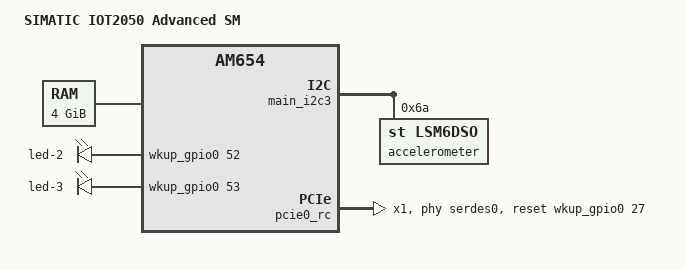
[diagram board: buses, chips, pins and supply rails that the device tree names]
// SPDX-License-Identifier: GPL-2.0-only
/*
 * Copyright (c) Siemens AG, 2023
 *
 * Authors:
 *   Baocheng Su <baocheng.su@siemens.com>
 *   Chao Zeng <chao.zeng@siemens.com>
 *   Huaqian Li <huaqian.li@siemens.com>
 *
 * AM6548-based (quad-core) IOT2050 SM variant, Product Generation 2
 * 4 GB RAM, 16 GB eMMC, USB-serial converter on connector X30
 *
 * Product homepage:
 * https://new.siemens.com/global/en/products/automation/pc-based/iot-gateways/simatic-iot2050.html
 */

/dts-v1/;

#include "k3-am6548-iot2050-advanced-common.dtsi"
#include "k3-am65-iot2050-common-pg2.dtsi"

/ {
	compatible = "siemens,iot2050-advanced-sm", "ti,am654";
	model = "SIMATIC IOT2050 Advanced SM";

	memory@80000000 {
		device_type = "memory";
		/* 4G RAM */
		reg = <0x00000000 0x80000000 0x00000000 0x80000000>,
		      <0x00000008 0x80000000 0x00000000 0x80000000>;
	};

	aliases {
		spi1 = &main_spi0;
	};

	leds {
		pinctrl-0 = <&leds_pins_default>, <&user1_led_pins>;

		led-2 {
			gpios = <&wkup_gpio0 52 GPIO_ACTIVE_HIGH>;
		};

		led-3 {
			gpios = <&wkup_gpio0 53 GPIO_ACTIVE_HIGH>;
		};
	};
};

&main_pmx0 {
	main_pcie_enable_pins_default: main-pcie-enable-default-pins {
		pinctrl-single,pins = <
			AM65X_IOPAD(0x01d8, PIN_OUTPUT, 7)  /* (AH12) GPIO1_22 */
		>;
	};

	main_spi0_pins: main-spi0-default-pins  {
		pinctrl-single,pins = <
			AM65X_IOPAD(0x01c4, PIN_INPUT, 0) /* (AH13) SPI0_CLK */
			AM65X_IOPAD(0x01c8, PIN_INPUT, 0) /* (AE13) SPI0_D0 */
			AM65X_IOPAD(0x01cc, PIN_INPUT, 0) /* (AD13) SPI0_D1 */
			AM65X_IOPAD(0x01bc, PIN_OUTPUT, 0) /* (AG13) SPI0_CS0 */
		>;
	};
};

&main_pmx1 {
	asic_spi_mux_ctrl_pin: asic-spi-mux-ctrl-default-pins {
		pinctrl-single,pins = <
			AM65X_IOPAD(0x0010, PIN_OUTPUT, 7)  /* (D21) GPIO1_86 */
		>;
	};
};

&wkup_pmx0 {
	user1_led_pins: user1-led-default-pins {
		pinctrl-single,pins = <
			/* (AB1) WKUP_UART0_RXD:WKUP_GPIO0_52, as USER 1 led red */
			AM65X_WKUP_IOPAD(0x00a0, PIN_OUTPUT, 7)
			/* (AB5) WKUP_UART0_TXD:WKUP_GPIO0_53, as USER 1 led green */
			AM65X_WKUP_IOPAD(0x00a4, PIN_OUTPUT, 7)
		>;
	};

	soc_asic_pins: soc-asic-default-pins {
		pinctrl-single,pins = <
			AM65X_WKUP_IOPAD(0x0044, PIN_INPUT, 7)  /* (P4) WKUP_GPIO0_29 */
			AM65X_WKUP_IOPAD(0x0048, PIN_INPUT, 7)  /* (P5) WKUP_GPIO0_30 */
			AM65X_WKUP_IOPAD(0x004c, PIN_INPUT, 7)  /* (P1) WKUP_GPIO0_31 */
		>;
	};
};

&main_gpio0 {
	gpio-line-names = "main_gpio0-base";
};

&main_gpio1 {
	pinctrl-names = "default";
	pinctrl-0 =
		<&cp2102n_reset_pin_default>,
		<&main_pcie_enable_pins_default>,
		<&asic_spi_mux_ctrl_pin>;
	gpio-line-names =
		/* 0..9 */
		"", "", "", "", "", "", "", "", "", "",
		/* 10..19 */
		"", "", "", "", "", "", "", "", "", "",
		/* 20..29 */
		"", "", "", "", "CP2102N-RESET", "", "", "", "", "",
		/* 30..39 */
		"", "", "", "", "", "", "", "", "", "",
		/* 40..49 */
		"", "", "", "", "", "", "", "", "", "",
		/* 50..59 */
		"", "", "", "", "", "", "", "", "", "",
		/* 60..69 */
		"", "", "", "", "", "", "", "", "", "",
		/* 70..79 */
		"", "", "", "", "", "", "", "", "", "",
		/* 80..86 */
		"", "", "", "", "", "", "ASIC-spi-mux-ctrl";
};

&wkup_gpio0 {
	pinctrl-names = "default";
	pinctrl-0 =
		<&push_button_pins_default>,
		<&db9_com_mode_pins_default>,
		<&soc_asic_pins>;
	gpio-line-names =
		/* 0..9 */
		"wkup_gpio0-base", "", "", "", "UART0-mode1", "UART0-mode0",
		"UART0-enable", "UART0-terminate", "", "WIFI-disable",
		/* 10..19 */
		"", "", "", "", "", "", "", "", "", "",
		/* 20..29 */
		"", "", "", "", "", "USER-button", "", "", "","ASIC-gpio-0",
		/* 30..31 */
		"ASIC-gpio-1", "ASIC-gpio-2";
};

&main_spi0 {
	pinctrl-names = "default";
	pinctrl-0 = <&main_spi0_pins>;

	#address-cells = <1>;
	#size-cells = <0>;
};

&mcu_spi0 {
	pinctrl-names = "default";
	pinctrl-0 = <&mcu_spi0_pins_default>;
};

&main_i2c3 {
	accelerometer: lsm6dso@6a {
		compatible = "st,lsm6dso";
		reg = <0x6a>;
	};
};

&dss {
	status = "disabled";
};

&serdes0 {
	assigned-clocks = <&k3_clks 153 4>, <&serdes0 AM654_SERDES_CMU_REFCLK>;
	assigned-clock-parents = <&k3_clks 153 8>, <&k3_clks 153 4>;
};

&serdes1 {
	status = "disabled";
};

&pcie0_rc {
	pinctrl-names = "default";
	pinctrl-0 = <&minipcie_pins_default>;

	num-lanes = <1>;
	phys = <&serdes0 PHY_TYPE_PCIE 1>;
	phy-names = "pcie-phy0";
	reset-gpios = <&wkup_gpio0 27 GPIO_ACTIVE_HIGH>;
	status = "okay";
};

&pcie1_rc {
	status = "disabled";
};
